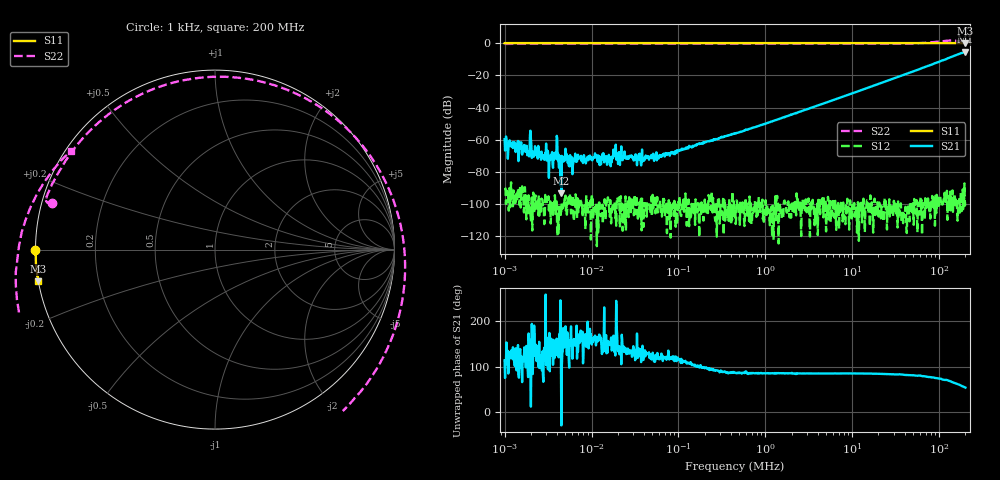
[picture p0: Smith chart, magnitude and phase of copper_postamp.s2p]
! ListType=Log
# MHZ S RI R 50
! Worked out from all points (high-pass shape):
!   1000 points, 1 kHz to 200 MHz, reference 50 ohm
!   highest |S21| = -5.40 dB at 200 MHz (marker M1); lowest = -93.3 dB at 4.495 kHz (marker M2)
!   |S21| within 3 dB of the highest: 139 MHz to end of sweep
!   lowest |S11| = 0.0 dB at 200 MHz (marker M3)
!   |S11| at or under -10 dB: nowhere
!   |S22| runs from -0.5 to 1.7 dB; largest |S21 - S12| = 0.54
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0.001  -1 0.000306  -0.000422 0.00095  -1.15e-05 -2.99e-05  -0.9089 0.26
0.0018197  -1 0.000238  -0.00019 0.000273  -1.5e-05 -4e-06  -0.9231 0.2573
0.0020815  -1 0.000174  -0.000247 0.000263  3e-07 -1.5e-06  -0.9266 0.2585
0.0033934  -1.001 -5.69e-05  -0.000315 0.000124  1.4e-06 2.1e-06  -0.9363 0.2643
0.0038815  -1 -0.000113  -0.000177 0.000252  -9e-07 4.1e-06  -0.9378 0.2664
0.0044945  -1 -8.14e-05  1.89e-05 -1.04e-05  -6.5e-06 -3.4e-06  -0.9395 0.2686
0.0048363  -1.001 -0.000271  -0.000178 0.00014  3e-07 -9.4e-06  -0.9399 0.2698
0.0076941  -1.001 -0.000164  -0.00021 5.84e-05  -2.1e-06 8.4e-06  -0.9422 0.2759
0.0584804  -1.001 -0.000138  -0.000122 0.000236  1.1e-06 -7.5e-06  -0.9406 0.2882
0.4499541  -1.001 -0.000443  0.000101 0.00156  1.8e-06 7.1e-06  -0.9349 0.303
3.419952  -1.001 -0.00306  0.000872 0.00997  -1.8e-06 -7.2e-06  -0.8867 0.4028
12.03851  -1.001 -0.0108  0.00288 0.0329  -7.5e-06 -3e-07  -0.7122 0.6466
26.31347  -1.001 -0.0233  0.00757 0.0699  3.6e-06 -3.5e-06  -0.3118 0.9064
50.9003  -1 -0.0446  0.0208 0.1321  -1e-07 -2.3e-06  0.4925 0.8486
64.99008  -0.9994 -0.0569  0.0319 0.1682  6e-06 -3.9e-06  0.8567 0.5339
81.97236  -0.9983 -0.0717  0.0506 0.2099  5.3e-06 -7.1e-06  1.057 -0.0223
103.3922  -0.9964 -0.0908  0.0762 0.2651  -9.6e-06 -1.12e-05  0.8402 -0.7545
128.8255  -0.9938 -0.1134  0.1225 0.3252  -1.25e-05 -1.01e-05  0.0311 -1.195
145.5678  -0.9918 -0.1284  0.1674 0.3603  5.8e-06 -1.22e-05  -0.5687 -1.06
164.4859  -0.9894 -0.1454  0.2126 0.392  4.6e-06 -3.3e-06  -1.028 -0.5582
179.1732  -0.9873 -0.1604  0.2565 0.417  -1.87e-05 -8.8e-06  -1.102 -0.0581
200  -0.9841 -0.1758  0.3147 0.4353  -1.29e-05 -6.6e-06  -0.8026 0.5506
